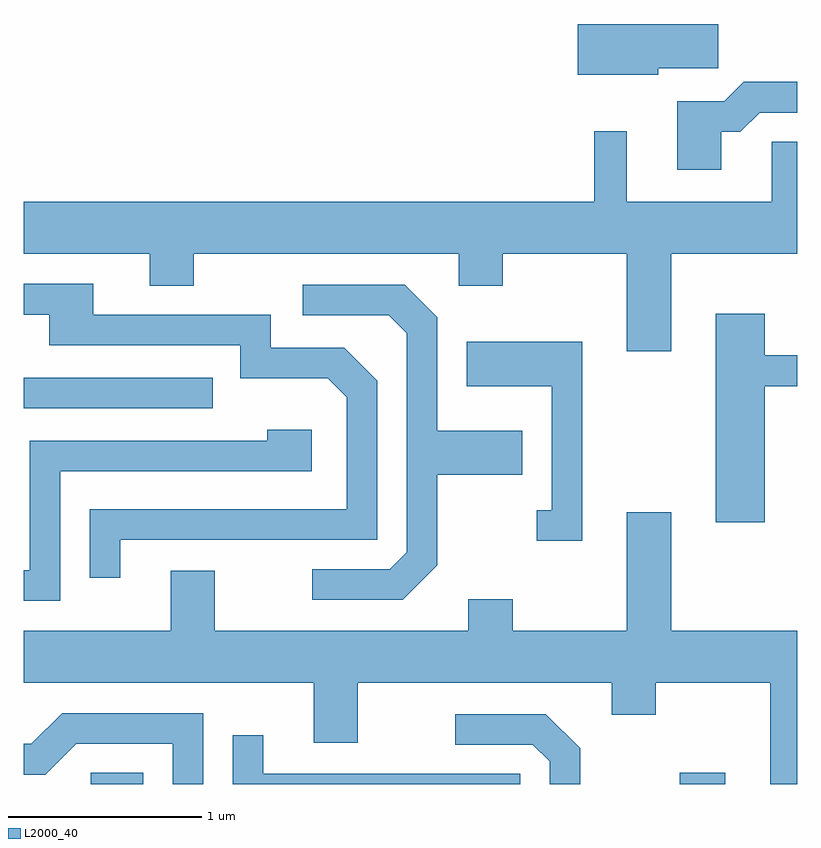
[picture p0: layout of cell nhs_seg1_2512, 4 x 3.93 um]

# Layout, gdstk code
import gdstk
lib = gdstk.Library(unit=1e-6, precision=1e-09)
def R(c, l, rs):  # rectangles x0, y0, x1, y1
    for r in rs: c.add(gdstk.rectangle(r[:2], r[2:], *l))
def P(c, l, *ps):  # polygons
    for p in ps: c.add(gdstk.Polygon(p, *l))
L2000_40 = (2000, 40)

nhs_seg1_2512 = lib.new_cell('nhs_seg1_2512')
R(nhs_seg1_2512, L2000_40, [(261.957,905.712,262.229,905.769), (265.003,905.712,265.239,905.769), (261.611,907.656,262.588,907.814)])
P(nhs_seg1_2512, L2000_40, [(264.894,909.416),(265.204,909.416),(265.204,909.644),(264.476,909.644),(264.476,909.381),(264.894,909.381)],
  [(265.219,909.086),(265.317,909.086),(265.417,909.186),(265.611,909.186),(265.611,909.344),(265.334,909.344),(265.234,909.244),(264.991,909.244),(264.991,908.891),(265.219,908.891)],
  [(264.959,908.456),(265.611,908.456),(265.611,909.034),(265.481,909.034),(265.481,908.724),(264.729,908.724),(264.729,909.088),(264.561,909.088),(264.561,908.724),(261.611,908.724),(261.611,908.456),(262.261,908.456),(262.261,908.291),(262.489,908.291),(262.489,908.456),(263.861,908.456),(263.861,908.291),(264.089,908.291),(264.089,908.456),(264.731,908.456),(264.731,907.951),(264.959,907.951)],
  [(262.109,906.976),(263.439,906.976),(263.439,907.797),(263.267,907.969),(262.889,907.969),(262.889,908.139),(261.969,908.139),(261.969,908.299),(261.611,908.299),(261.611,908.141),(261.741,908.141),(261.741,907.981),(262.731,907.981),(262.731,907.811),(263.184,907.811),(263.281,907.714),(263.281,907.134),(261.951,907.134),(261.951,906.778),(262.109,906.778)],
  [(263.749,906.844),(263.749,907.311),(264.189,907.311),(264.189,907.539),(263.749,907.539),(263.749,908.127),(263.582,908.294),(263.053,908.294),(263.053,908.136),(263.499,908.136),(263.591,908.044),(263.591,906.912),(263.504,906.824),(263.103,906.824),(263.103,906.666),(263.572,906.666)],
  [(265.444,907.771),(265.611,907.771),(265.611,907.929),(265.444,907.929),(265.444,908.144),(265.191,908.144),(265.191,907.066),(265.444,907.066)],
  [(264.499,907.999),(263.901,907.999),(263.901,907.771),(264.341,907.771),(264.341,907.129),(264.263,907.129),(264.263,906.971),(264.499,906.971)],
  [(261.799,907.331),(263.099,907.331),(263.099,907.544),(262.871,907.544),(262.871,907.489),(261.641,907.489),(261.641,906.819),(261.611,906.819),(261.611,906.661),(261.799,906.661)],
  [(265.611,906.504),(264.959,906.504),(264.959,907.119),(264.731,907.119),(264.731,906.504),(264.139,906.504),(264.139,906.669),(263.911,906.669),(263.911,906.504),(262.599,906.504),(262.599,906.814),(262.371,906.814),(262.371,906.504),(261.611,906.504),(261.611,906.236),(263.111,906.236),(263.111,905.926),(263.339,905.926),(263.339,906.236),(264.651,906.236),(264.651,906.071),(264.879,906.071),(264.879,906.236),(265.471,906.236),(265.471,905.712),(265.611,905.712)],
  [(262.539,906.079),(261.808,906.079),(261.649,905.919),(261.611,905.919),(261.611,905.761),(261.722,905.761),(261.882,905.921),(262.381,905.921),(262.381,905.712),(262.539,905.712)],
  [(264.489,905.897),(264.312,906.074),(263.843,906.074),(263.843,905.916),(264.244,905.916),(264.331,905.829),(264.331,905.712),(264.489,905.712)],
  [(264.179,905.764),(262.849,905.764),(262.849,905.963),(262.691,905.963),(262.691,905.712),(264.179,905.712)])

lib.write_gds('nhs_seg1_2512.gds')
